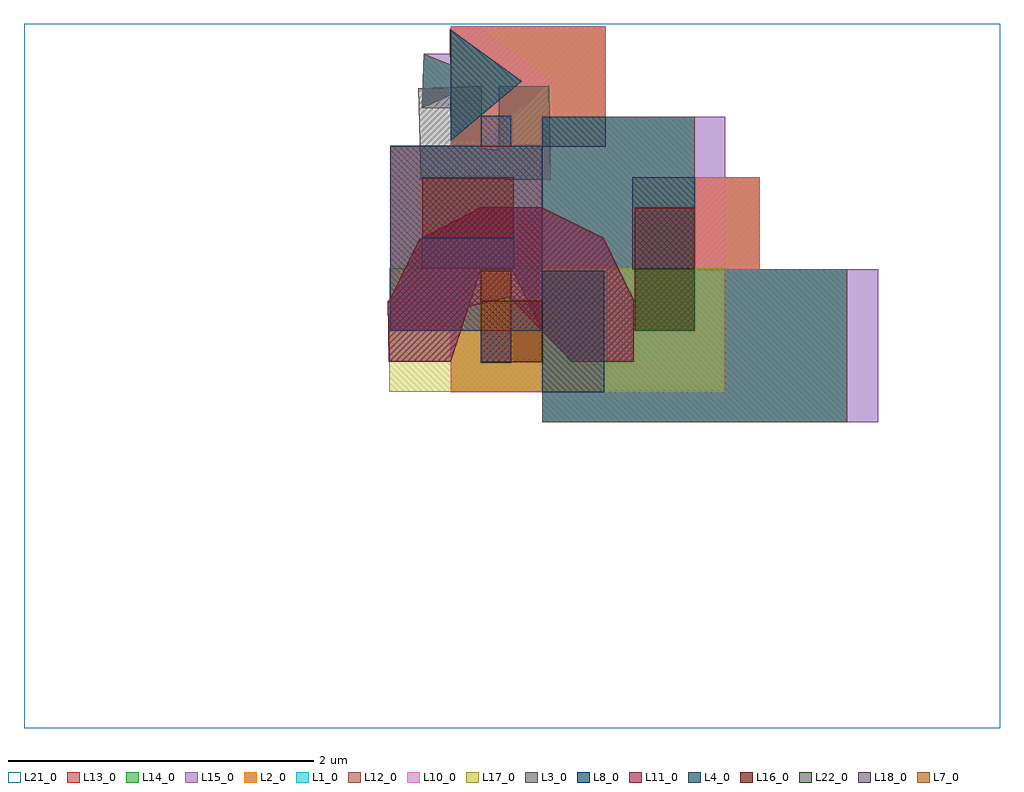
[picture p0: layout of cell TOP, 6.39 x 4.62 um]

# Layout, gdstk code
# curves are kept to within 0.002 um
import gdstk
lib = gdstk.Library(unit=1e-6, precision=1e-09)
def R(c, l, rs):  # rectangles x0, y0, x1, y1
    for r in rs: c.add(gdstk.rectangle(r[:2], r[2:], *l))
def P(c, l, *ps):  # polygons
    for p in ps: c.add(gdstk.Polygon(p, *l))
L1_0 = (1, 0)
L2_0 = (2, 0)
L3_0 = (3, 0)
L4_0 = (4, 0)
L5_0 = (5, 0)
L6_0 = (6, 0)
L7_0 = (7, 0)
L8_0 = (8, 0)
L9_0 = (9, 0)
L10_0 = (10, 0)
L11_0 = (11, 0)
L12_0 = (12, 0)
L13_0 = (13, 0)
L14_0 = (14, 0)
L15_0 = (15, 0)
L16_0 = (16, 0)
L17_0 = (17, 0)
L18_0 = (18, 0)
L19_0 = (19, 0)
L20_0 = (20, 0)
L21_0 = (21, 0)
L22_0 = (22, 0)
L23_0 = (23, 0)
L24_0 = (24, 0)
L25_0 = (25, 0)
L26_0 = (26, 0)

top = lib.new_cell('TOP')
P(top, L1_0, [(-0.789,2.056),(-0.776,2.413),(-0.361,2.246)],
  [(-0.6,1.84),(-0.604,2.575),(-0.135,2.232)],
  [(0,0),(0,2),(1,2),(1,1),(2,1),(2,0)])
R(top, L2_0, [(-0.598,0.196,0.407,0.991), (-0.402,0.388,-0.201,2.005), (-0.996,0.598,0,1.809), (0.589,1,1.425,1.603), (-0.854,1.283,-0.553,1.644), (-0.598,1.804,0.416,2.594)])
P(top, L3_0, [(0.056,1.585),(-0.795,1.594),(-0.812,2.185),(-0.795,2.185),(-0.397,2.203),(-0.397,1.792),(-0.285,1.784),(-0.285,2.198),(0.048,2.203)],
  [(0.193,0.391),(0.004,0.591),(-0.197,0.997),(-0.402,0.997),(-0.599,0.394),(-1.005,0.394),(-1.012,0.796),(-1.001,0.796),(-0.804,1.198),(-0.402,1.407),(-0.004,1.407),(0.402,1.206),(0.599,0.8),(0.599,0.394)])
R(top, L4_0, [(0,0.196,0.407,0.991), (0.589,1,1,1.603), (0,1.804,0.416,2)])
P(top, L4_0, [(-0.598,1.842),(-0.598,2.571),(-0.135,2.232)])
R(top, L7_0, [(-0.402,0.598,-0.201,0.991), (-0.402,1.804,-0.201,1.809)])
R(top, L8_0, [(-0.402,0.388,-0.201,2.005), (-0.996,0.598,0,1.809)])
R(top, L10_0, [(1,1,1.425,1.603)])
P(top, L10_0, [(-0.598,0.196),(-0.598,0.598),(-0.996,0.598),(-0.996,1.809),(-0.598,1.809),(-0.598,1.842),(-0.135,2.232),(-0.598,2.571),(-0.598,2.594),(0.416,2.594),(0.416,2),(0,2),(0,0.196)])
P(top, L11_0, [(0.193,0.391),(-0.209,0.816),(-0.481,0.755),(-0.599,0.394),(-1.005,0.394),(-1.012,0.796),(-1.001,0.796),(-0.804,1.197),(-0.401,1.407),(-0.002,1.407),(0.401,1.207),(0.599,0.799),(0.599,0.394)])
P(top, L12_0, [(-0.6,1.84),(-0.604,2.575),(-0.135,2.232)],
  [(-0.789,2.056),(-0.776,2.413),(-0.361,2.246)],
  [(0,0),(0,2),(1,2),(1,1),(2,1),(2,0)])
P(top, L13_0, [(0,0),(0,0.196),(-0.598,0.196),(-0.598,0.598),(-0.996,0.598),(-0.996,1.809),(-0.598,1.809),(-0.602,2.139),(-0.789,2.056),(-0.776,2.413),(-0.603,2.343),(-0.604,2.575),(-0.598,2.571),(-0.598,2.594),(0.416,2.594),(0.416,2),(1,2),(1,1.603),(1.425,1.603),(1.425,1),(2,1),(2,0)])
P(top, L14_0, [(0,0),(0,0.196),(-0.598,0.196),(-0.598,0.598),(-0.996,0.598),(-0.996,0.991),(0,0.991),(0,0.196),(0.407,0.196),(0.407,0.991),(-0.996,0.991),(-0.996,1.603),(0.589,1.603),(0.589,1),(1,1),(1,1.603),(-0.996,1.603),(-0.996,1.809),(-0.598,1.809),(-0.602,2.139),(-0.789,2.056),(-0.776,2.413),(-0.603,2.343),(-0.604,2.571),(-0.598,2.571),(-0.598,1.842),(-0.41,2),(0,2),(0,1.804),(0.416,1.804),(0.416,2),(-0.41,2),(-0.135,2.232),(-0.598,2.571),(-0.604,2.571),(-0.604,2.575),(-0.598,2.571),(-0.598,2.594),(0.416,2.594),(0.416,2),(1,2),(1,1.603),(1.425,1.603),(1.425,1),(2,1),(2,0)])
P(top, L15_0, [(-0.789,2.056),(-0.776,2.413),(-0.576,2.413),(-0.161,2.246),(-0.589,2.056)],
  [(-0.6,1.84),(-0.604,2.575),(-0.404,2.575),(0.065,2.232),(-0.4,1.84)],
  [(0,0),(0,2),(1.2,2),(1.2,1),(2.2,1),(2.2,0)])
R(top, L16_0, [(-0.398,0.393,0,0.796), (0.607,0.597,1,1.403), (-0.787,1.204,-0.185,1.602)])
R(top, L17_0, [(-1.001,0.198,1.193,1.008)])
R(top, L18_0, [(-0.788,1.007,-0.184,1.205)])
R(top, L21_0, [(-3.394,-2.007,2.999,2.61)])
R(top, L22_0, [(0.607,0.597,1,1.008)])
top.add(gdstk.FlexPath([(0.599,0.8),(0.599,0.394)], 0, ends="flush", simple_path=True, layer=5, datatype=0))  # L5_0
top.add(gdstk.FlexPath([(-0.402,0.997),(-0.599,0.394)], 0, ends="flush", simple_path=True, layer=5, datatype=0))  # L5_0
top.add(gdstk.FlexPath([(0.599,0.394),(0.193,0.391)], 0, ends="flush", simple_path=True, layer=5, datatype=0))  # L5_0
top.add(gdstk.FlexPath([(-1.001,0.796),(-0.804,1.198)], 0, ends="flush", simple_path=True, layer=5, datatype=0))  # L5_0
top.add(gdstk.FlexPath([(-0.599,0.394),(-1.005,0.394)], 0, ends="flush", simple_path=True, layer=5, datatype=0))  # L5_0
top.add(gdstk.FlexPath([(0.193,0.391),(0.004,0.591)], 0, ends="flush", simple_path=True, layer=5, datatype=0))  # L5_0
top.add(gdstk.FlexPath([(-0.804,1.198),(-0.402,1.407)], 0, ends="flush", simple_path=True, layer=5, datatype=0))  # L5_0
top.add(gdstk.FlexPath([(-0.197,0.997),(-0.402,0.997)], 0, ends="flush", simple_path=True, layer=5, datatype=0))  # L5_0
top.add(gdstk.FlexPath([(-1.012,0.796),(-1.001,0.796)], 0, ends="flush", simple_path=True, layer=5, datatype=0))  # L5_0
top.add(gdstk.FlexPath([(0.402,1.206),(0.599,0.8)], 0, ends="flush", simple_path=True, layer=5, datatype=0))  # L5_0
top.add(gdstk.FlexPath([(-0.004,1.407),(0.402,1.206)], 0, ends="flush", simple_path=True, layer=5, datatype=0))  # L5_0
top.add(gdstk.FlexPath([(0.004,0.591),(-0.197,0.997)], 0, ends="flush", simple_path=True, layer=5, datatype=0))  # L5_0
top.add(gdstk.FlexPath([(-1.005,0.394),(-1.012,0.796)], 0, ends="flush", simple_path=True, layer=5, datatype=0))  # L5_0
top.add(gdstk.FlexPath([(-0.402,1.407),(-0.004,1.407)], 0, ends="flush", simple_path=True, layer=5, datatype=0))  # L5_0
top.add(gdstk.FlexPath([(-0.598,0.598),(-0.996,0.598)], 0, ends="flush", simple_path=True, layer=6, datatype=0))  # L6_0
top.add(gdstk.FlexPath([(-0.996,1.809),(-0.598,1.809)], 0, ends="flush", simple_path=True, layer=6, datatype=0))  # L6_0
top.add(gdstk.FlexPath([(0,0.991),(0.407,0.991)], 0, ends="flush", simple_path=True, layer=6, datatype=0))  # L6_0
top.add(gdstk.FlexPath([(0.416,1.804),(0,1.804)], 0, ends="flush", simple_path=True, layer=6, datatype=0))  # L6_0
top.add(gdstk.FlexPath([(-0.854,1.283),(-0.854,1.644)], 0, ends="flush", simple_path=True, layer=9, datatype=0))  # L9_0
top.add(gdstk.FlexPath([(-0.854,1.644),(-0.553,1.644)], 0, ends="flush", simple_path=True, layer=9, datatype=0))  # L9_0
top.add(gdstk.FlexPath([(-0.553,1.644),(-0.553,1.283)], 0, ends="flush", simple_path=True, layer=9, datatype=0))  # L9_0
top.add(gdstk.FlexPath([(-0.553,1.283),(-0.854,1.283)], 0, ends="flush", simple_path=True, layer=9, datatype=0))  # L9_0
top.add(gdstk.FlexPath([(-0.402,2.005),(-0.201,2.005)], 0, ends="flush", simple_path=True, layer=9, datatype=0))  # L9_0
top.add(gdstk.FlexPath([(-0.201,0.388),(-0.402,0.388)], 0, ends="flush", simple_path=True, layer=9, datatype=0))  # L9_0
top.add(gdstk.FlexPath([(0,0.393),(-0.398,0.393)], 0, ends="flush", simple_path=True, layer=19, datatype=0))  # L19_0
top.add(gdstk.FlexPath([(0,0.198),(-0.398,0.198)], 0, ends="flush", simple_path=True, layer=19, datatype=0))  # L19_0
top.add(gdstk.FlexPath([(-0.398,0.796),(0,0.796)], 0, ends="flush", simple_path=True, layer=19, datatype=0))  # L19_0
top.add(gdstk.FlexPath([(-0.398,1.008),(0,1.008)], 0, ends="flush", simple_path=True, layer=19, datatype=0))  # L19_0
top.add(gdstk.FlexPath([(1,0.597),(0.607,0.597)], 0, ends="flush", simple_path=True, layer=19, datatype=0))  # L19_0
top.add(gdstk.FlexPath([(1,0.198),(0.607,0.198)], 0, ends="flush", simple_path=True, layer=19, datatype=0))  # L19_0
top.add(gdstk.FlexPath([(1,1.008),(1,0.597)], 0, ends="flush", simple_path=True, layer=19, datatype=0))  # L19_0
top.add(gdstk.FlexPath([(1.193,1.008),(1.193,0.597)], 0, ends="flush", simple_path=True, layer=19, datatype=0))  # L19_0
top.add(gdstk.FlexPath([(2,1),(2,0)], 0, ends="flush", simple_path=True, layer=20, datatype=0))  # L20_0
top.add(gdstk.FlexPath([(0,2),(1,2)], 0, ends="flush", simple_path=True, layer=20, datatype=0))  # L20_0
top.add(gdstk.FlexPath([(1,2),(1,1)], 0, ends="flush", simple_path=True, layer=20, datatype=0))  # L20_0
top.add(gdstk.FlexPath([(1,1),(2,1)], 0, ends="flush", simple_path=True, layer=20, datatype=0))  # L20_0
top.add(gdstk.FlexPath([(0,0.598),(0,1.809)], 0, ends="flush", simple_path=True, layer=23, datatype=0))  # L23_0
top.add(gdstk.FlexPath([(1,1),(1.425,1)], 0, ends="flush", simple_path=True, layer=23, datatype=0))  # L23_0
top.add(gdstk.FlexPath([(0,0.196),(0,0.196)], 0, ends="flush", simple_path=True, layer=23, datatype=0))  # L23_0
top.add(gdstk.FlexPath([(1,1.603),(1,1.603)], 0, ends="flush", simple_path=True, layer=23, datatype=0))  # L23_0
top.add(gdstk.FlexPath([(-0.598,1.842),(-0.598,1.842)], 0, ends="flush", simple_path=True, layer=23, datatype=0))  # L23_0
top.add(gdstk.FlexPath([(0.416,2),(0.416,2)], 0, ends="flush", simple_path=True, layer=23, datatype=0))  # L23_0
top.add(gdstk.FlexPath([(-0.598,2.141),(-0.598,2.141)], 0, ends="flush", simple_path=True, layer=23, datatype=0))  # L23_0
top.add(gdstk.FlexPath([(-0.598,2.341),(-0.598,2.341)], 0, ends="flush", simple_path=True, layer=23, datatype=0))  # L23_0
top.add(gdstk.FlexPath([(-0.598,2.571),(-0.598,2.571)], 0, ends="flush", simple_path=True, layer=23, datatype=0))  # L23_0
top.add(gdstk.FlexPath([(1,0.597),(0.607,0.597)], 0, ends="flush", simple_path=True, layer=26, datatype=0))  # L26_0
top.add(gdstk.FlexPath([(0.607,1.008),(1,1.008)], 0, ends="flush", simple_path=True, layer=26, datatype=0))  # L26_0
top.add(gdstk.FlexPath([(-0.854,1.644),(-0.553,1.644)], 0, ends="flush", simple_path=True, layer=24, datatype=0))  # L24_0
top.add(gdstk.FlexPath([(-0.553,1.283),(-0.854,1.283)], 0, ends="flush", simple_path=True, layer=24, datatype=0))  # L24_0
top.add(gdstk.FlexPath([(-0.854,1.283),(-0.854,1.644)], 0, ends="flush", simple_path=True, layer=24, datatype=0))  # L24_0
top.add(gdstk.FlexPath([(-0.553,1.644),(-0.553,1.283)], 0, ends="flush", simple_path=True, layer=24, datatype=0))  # L24_0
top.add(gdstk.FlexPath([(-0.402,0.388),(-0.402,2.005)], 0, ends="flush", simple_path=True, layer=24, datatype=0))  # L24_0
top.add(gdstk.FlexPath([(-0.201,2.005),(-0.201,0.388)], 0, ends="flush", simple_path=True, layer=24, datatype=0))  # L24_0
top.add(gdstk.FlexPath([(-0.553,1.804),(-0.598,1.804)], 0, ends="flush", simple_path=True, layer=25, datatype=0))  # L25_0
top.add(gdstk.FlexPath([(-0.598,1.644),(-0.553,1.644)], 0, ends="flush", simple_path=True, layer=25, datatype=0))  # L25_0
top.add(gdstk.FlexPath([(-0.598,0.991),(-0.553,0.991)], 0, ends="flush", simple_path=True, layer=25, datatype=0))  # L25_0
top.add(gdstk.FlexPath([(-0.553,1.283),(-0.598,1.283)], 0, ends="flush", simple_path=True, layer=25, datatype=0))  # L25_0
top.add(gdstk.FlexPath([(-0.402,1.283),(-0.402,1.644)], 0, ends="flush", simple_path=True, layer=25, datatype=0))  # L25_0
top.add(gdstk.FlexPath([(-0.553,1.644),(-0.553,1.283)], 0, ends="flush", simple_path=True, layer=25, datatype=0))  # L25_0

lib.write_gds('TOP.gds')
